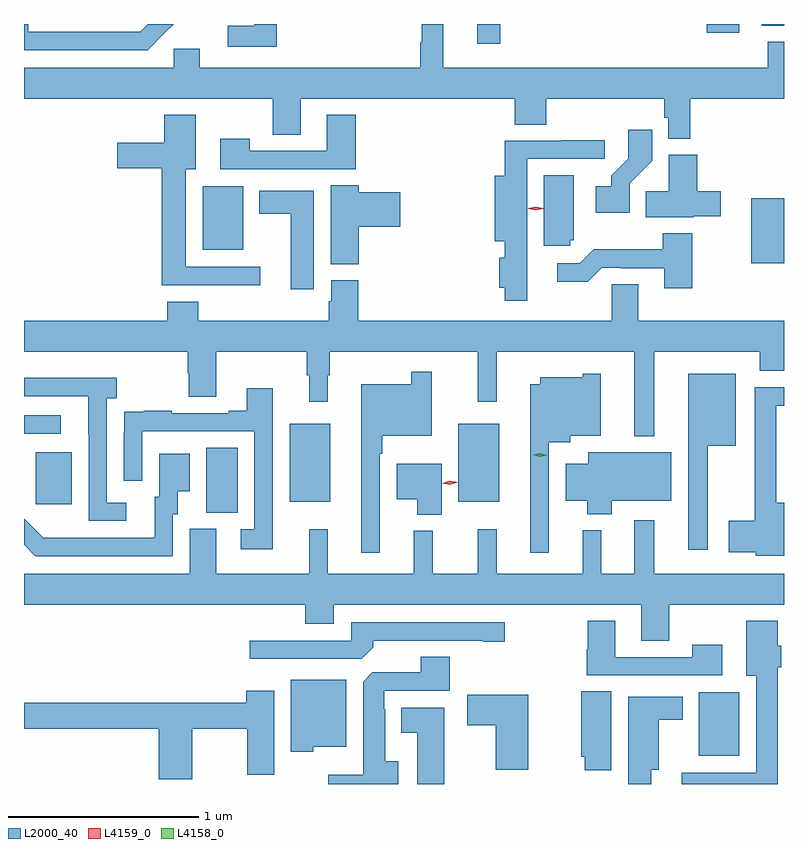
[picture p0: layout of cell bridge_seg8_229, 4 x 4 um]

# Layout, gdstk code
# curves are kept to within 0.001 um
import gdstk
lib = gdstk.Library(unit=1e-6, precision=1e-09)
def R(c, l, rs):  # rectangles x0, y0, x1, y1
    for r in rs: c.add(gdstk.rectangle(r[:2], r[2:], *l))
def P(c, l, *ps):  # polygons
    for p in ps: c.add(gdstk.Polygon(p, *l))
L2000_40 = (2000, 40)
L4158_0 = (4158, 0)
L4159_0 = (4159, 0)

bridge_seg8_229 = lib.new_cell('bridge_seg8_229')
R(bridge_seg8_229, L2000_40, [(124.664,1082.405,124.876,1082.74), (122.072,1083.685,122.236,1084.028), (121.175,1083.729,121.363,1084.003), (122.51,1083.743,122.725,1084.153), (123.398,1083.743,123.613,1084.153), (121.112,1084.101,121.306,1084.197), (124.94,1084.997,125.112,1085.341), (122.054,1085.069,122.266,1085.404), (123.497,1086.153,123.619,1086.257), (124.706,1086.21,124.876,1086.257), (124.995,1086.249,125.112,1086.257)])
P(bridge_seg8_229, L2000_40, [(121.853,1086.211),(121.854,1086.21),(121.901,1086.257),(121.763,1086.257),(121.723,1086.217),(121.619,1086.217),(121.619,1086.216),(121.135,1086.216),(121.135,1086.257),(121.112,1086.257),(121.112,1086.12),(121.762,1086.12)],
  [(122.441,1086.257),(122.324,1086.257),(122.324,1086.247),(122.184,1086.247),(122.184,1086.138),(122.441,1086.138)],
  [(124.619,1085.864),(125.112,1085.864),(125.112,1086.164),(125.027,1086.164),(125.027,1086.028),(123.319,1086.028),(123.319,1086.257),(123.205,1086.257),(123.205,1086.161),(123.198,1086.161),(123.198,1086.028),(122.038,1086.028),(122.038,1086.126),(121.899,1086.126),(121.899,1086.028),(121.112,1086.028),(121.112,1085.864),(122.422,1085.864),(122.422,1085.674),(122.569,1085.674),(122.569,1085.864),(123.695,1085.864),(123.695,1085.728),(123.86,1085.728),(123.86,1085.864),(124.483,1085.864),(124.483,1085.763),(124.503,1085.763),(124.503,1085.654),(124.619,1085.654)],
  [(122.858,1085.779),(122.705,1085.779),(122.705,1085.589),(122.301,1085.589),(122.301,1085.653),(122.145,1085.653),(122.145,1085.493),(122.858,1085.493)],
  [(122.356,1084.98),(121.963,1084.98),(121.963,1085.492),(122.017,1085.492),(122.017,1085.779),(121.85,1085.779),(121.85,1085.632),(121.602,1085.632),(121.602,1085.498),(121.838,1085.498),(121.838,1084.883),(122.356,1084.883)],
  [(124.299,1085.419),(124.418,1085.538),(124.418,1085.701),(124.293,1085.701),(124.293,1085.549),(124.202,1085.459),(124.202,1085.404),(124.122,1085.404),(124.122,1085.264),(124.299,1085.264)],
  [(123.76,1085.547),(124.168,1085.547),(124.168,1085.646),(123.943,1085.646),(123.943,1085.643),(123.643,1085.643),(123.643,1085.458),(123.59,1085.458),(123.59,1085.114),(123.643,1085.114),(123.643,1085.026),(123.614,1085.026),(123.614,1084.868),(123.643,1084.868),(123.643,1084.8),(123.76,1084.8)],
  [(124.638,1085.246),(124.78,1085.246),(124.78,1085.376),(124.655,1085.376),(124.655,1085.569),(124.505,1085.569),(124.505,1085.378),(124.384,1085.378),(124.384,1085.24),(124.638,1085.24)],
  [(123.987,1085.118),(124.006,1085.118),(124.006,1085.462),(123.848,1085.462),(123.848,1085.091),(123.987,1085.091)],
  [(122.873,1085.189),(123.091,1085.189),(123.091,1085.372),(122.873,1085.372),(122.873,1085.408),(122.726,1085.408),(122.726,1084.993),(122.873,1084.993)],
  [(122.638,1085.38),(122.351,1085.38),(122.351,1085.258),(122.516,1085.258),(122.516,1084.86),(122.638,1084.86)],
  [(124.629,1085.155),(124.474,1085.155),(124.474,1085.071),(124.111,1085.071),(124.038,1084.998),(123.918,1084.998),(123.918,1084.901),(124.079,1084.901),(124.152,1084.974),(124.252,1084.974),(124.252,1084.971),(124.481,1084.971),(124.481,1084.866),(124.629,1084.866)],
  [(121.865,1084.795),(121.865,1084.696),(121.112,1084.696),(121.112,1084.532),(121.973,1084.532),(121.973,1084.419),(121.978,1084.419),(121.978,1084.294),(122.125,1084.294),(122.125,1084.532),(122.601,1084.532),(122.601,1084.409),(122.612,1084.409),(122.612,1084.269),(122.71,1084.269),(122.71,1084.409),(122.722,1084.409),(122.722,1084.532),(123.499,1084.532),(123.499,1084.269),(123.6,1084.269),(123.6,1084.532),(124.325,1084.532),(124.325,1084.088),(124.429,1084.088),(124.429,1084.532),(124.985,1084.532),(124.985,1084.433),(125.112,1084.433),(125.112,1084.696),(124.345,1084.696),(124.345,1084.886),(124.206,1084.886),(124.206,1084.696),(122.87,1084.696),(122.87,1084.908),(122.729,1084.908),(122.729,1084.797),(122.717,1084.797),(122.717,1084.696),(122.03,1084.696),(122.03,1084.795)],
  [(122.985,1083.995),(122.998,1083.995),(122.998,1084.091),(123.258,1084.091),(123.258,1084.426),(123.15,1084.426),(123.15,1084.36),(122.888,1084.36),(122.888,1083.474),(122.985,1083.474)],
  [(124.711,1084.037),(124.858,1084.037),(124.858,1084.417),(124.607,1084.417),(124.607,1083.489),(124.711,1083.489)],
  [(123.873,1084.055),(123.988,1084.055),(123.988,1084.091),(124.147,1084.091),(124.147,1084.417),(124.053,1084.417),(124.053,1084.399),(123.83,1084.399),(123.83,1084.36),(123.776,1084.36),(123.776,1083.474),(123.873,1083.474)],
  [(121.651,1083.738),(121.548,1083.738),(121.548,1084.286),(121.6,1084.286),(121.6,1084.396),(121.112,1084.396),(121.112,1084.299),(121.451,1084.299),(121.451,1084.099),(121.452,1084.099),(121.452,1083.642),(121.651,1083.642)],
  [(125.112,1083.736),(125.071,1083.736),(125.071,1084.248),(125.112,1084.248),(125.112,1084.346),(124.958,1084.346),(124.958,1083.642),(124.821,1083.642),(124.821,1083.476),(124.962,1083.476),(124.962,1083.458),(125.112,1083.458)],
  [(122.421,1084.339),(122.285,1084.339),(122.285,1084.222),(122.189,1084.222),(122.189,1084.209),(121.889,1084.209),(121.889,1084.222),(121.741,1084.222),(121.741,1084.215),(121.639,1084.215),(121.639,1084.106),(121.638,1084.106),(121.638,1083.852),(121.734,1083.852),(121.734,1084.113),(122.325,1084.113),(122.325,1083.597),(122.253,1083.597),(122.253,1083.492),(122.421,1083.492)],
  [(124.206,1083.749),(124.519,1083.749),(124.519,1084.003),(124.082,1084.003),(124.082,1083.943),(123.962,1083.943),(123.962,1083.749),(124.076,1083.749),(124.076,1083.677),(124.206,1083.677)],
  [(121.896,1083.678),(121.921,1083.678),(121.921,1083.797),(121.984,1083.797),(121.984,1083.994),(121.823,1083.994),(121.823,1083.768),(121.799,1083.768),(121.799,1083.552),(121.212,1083.553),(121.112,1083.652),(121.112,1083.516),(121.172,1083.456),(121.896,1083.456)],
  [(123.31,1083.943),(123.074,1083.943),(123.074,1083.755),(123.182,1083.755),(123.182,1083.674),(123.31,1083.674)],
  [(124.509,1083.2),(125.112,1083.2),(125.112,1083.364),(124.429,1083.364),(124.429,1083.646),(124.325,1083.646),(124.325,1083.364),(124.15,1083.364),(124.15,1083.592),(124.052,1083.592),(124.052,1083.364),(123.599,1083.364),(123.599,1083.598),(123.499,1083.598),(123.499,1083.364),(123.264,1083.364),(123.264,1083.589),(123.164,1083.589),(123.164,1083.364),(122.711,1083.364),(122.711,1083.598),(122.612,1083.598),(122.612,1083.364),(122.125,1083.364),(122.125,1083.6),(121.985,1083.6),(121.985,1083.364),(121.112,1083.364),(121.112,1083.2),(122.591,1083.2),(122.591,1083.101),(122.743,1083.101),(122.743,1083.2),(124.361,1083.2),(124.361,1083.01),(124.509,1083.01)],
  [(125.08,1082.871),(125.098,1082.871),(125.098,1082.985),(125.08,1082.985),(125.08,1083.115),(124.913,1083.115),(124.913,1082.828),(124.967,1082.828),(124.967,1082.316),(124.575,1082.316),(124.575,1082.257),(125.08,1082.257)],
  [(124.786,1082.989),(124.63,1082.989),(124.63,1082.925),(124.225,1082.925),(124.225,1083.115),(124.078,1083.115),(124.078,1082.967),(124.073,1082.967),(124.073,1082.829),(124.786,1082.829)],
  [(122.951,1082.978),(122.951,1083.012),(123.53,1083.012),(123.53,1083.007),(123.643,1083.007),(123.643,1083.108),(122.835,1083.108),(122.835,1083.012),(122.301,1083.012),(122.301,1082.916),(122.889,1082.916)],
  [(123.082,1082.377),(123.013,1082.377),(123.013,1082.651),(123.009,1082.651),(123.009,1082.748),(123.353,1082.748),(123.353,1082.927),(123.2,1082.927),(123.2,1082.844),(122.946,1082.844),(122.897,1082.795),(122.897,1082.305),(122.712,1082.305),(122.712,1082.257),(123.082,1082.257)],
  [(122.634,1082.453),(122.809,1082.453),(122.809,1082.806),(122.516,1082.806),(122.516,1082.426),(122.634,1082.426)],
  [(121.998,1082.548),(122.287,1082.548),(122.287,1082.305),(122.428,1082.305),(122.428,1082.749),(122.282,1082.749),(122.282,1082.684),(121.112,1082.684),(121.112,1082.548),(121.82,1082.548),(121.82,1082.283),(121.998,1082.283)],
  [(124.204,1082.744),(124.046,1082.744),(124.046,1082.4),(124.063,1082.4),(124.063,1082.329),(124.204,1082.329)],
  [(123.766,1082.728),(123.444,1082.728),(123.444,1082.566),(123.596,1082.566),(123.596,1082.333),(123.766,1082.333)],
  [(124.414,1082.333),(124.453,1082.333),(124.453,1082.594),(124.579,1082.594),(124.579,1082.716),(124.292,1082.716),(124.292,1082.257),(124.414,1082.257)],
  [(123.325,1082.659),(123.098,1082.659),(123.098,1082.528),(123.182,1082.528),(123.182,1082.257),(123.325,1082.257)])
P(bridge_seg8_229, L4158_0, [(123.826,1083.979),(123.792,1083.99),(123.791,1083.991),(123.792,1083.991),(123.828,1083.999),(123.862,1083.987),(123.863,1083.987),(123.862,1083.987)])
P(bridge_seg8_229, L4159_0, [(123.805,1085.276),(123.765,1085.285),(123.765,1085.286),(123.765,1085.286),(123.805,1085.296),(123.844,1085.286),(123.845,1085.286),(123.844,1085.285)],
  [(123.354,1083.833),(123.313,1083.841),(123.313,1083.841),(123.313,1083.841),(123.353,1083.853),(123.394,1083.845),(123.395,1083.844),(123.394,1083.844)])

lib.write_gds('bridge_seg8_229.gds')
